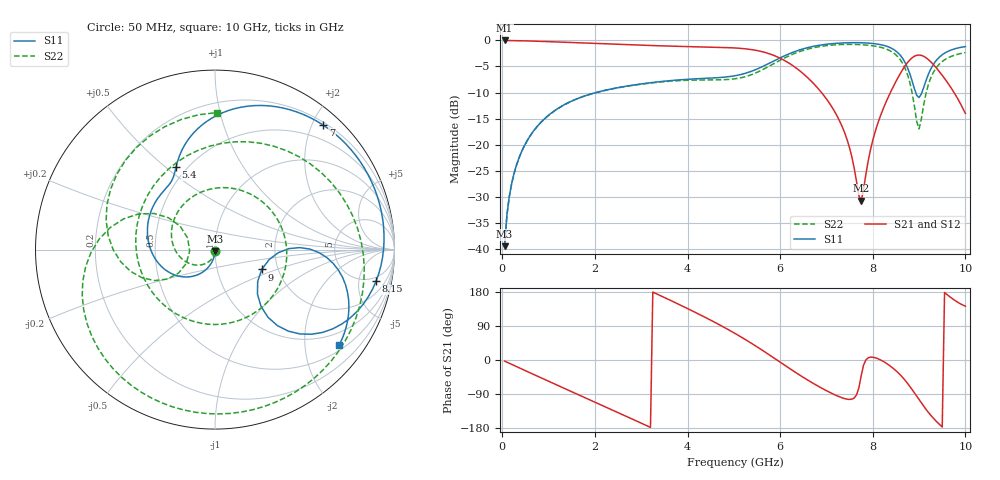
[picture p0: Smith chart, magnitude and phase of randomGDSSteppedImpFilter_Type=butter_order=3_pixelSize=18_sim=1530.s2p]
! freq	dB(S11)	phase(S11)	dB(S12)	phase(S12)
!  dB(S21)	phase(S21)	dB(S22)	phase(S22)
!S-par simulation data
#  GHz  S  DB  R 50
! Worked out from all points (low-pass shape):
!   200 points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, 50 MHz to 10 GHz, reference 50 ohm
!   highest |S21| = -0.01 dB at 50 MHz (marker M1); lowest = -30.8 dB at 7.75 GHz (marker M2)
!   |S21| within 3 dB of the highest: start of sweep to 5.9 GHz; 8.906 GHz to 9.087 GHz (181.4 MHz wide, 2.02 % of centre)
!   lowest |S11| = -39.5 dB at 50 MHz (marker M3), VSWR 1.02, Z = 50 - j1.06 ohm
!   |S11| at or under -10 dB: start of sweep to 2.025 GHz; 8.928 GHz to 9.061 GHz (133.2 MHz wide, 1.48 % of centre)
!   |S22| runs from -39.5 to -0.8 dB; largest |S21 - S12| = 0
!   S11 on the Smith chart (normalised r, x): 50 MHz: 1.00, -0.02; 5.4 GHz: 0.44, +0.54; 7 GHz: 0.24, +2.17; 8.15 GHz: 3.91, -8.45; 9 GHz: 1.65, -0.40; 10 GHz: 0.64, -2.83
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0.05  -39.50 -91.4  -0.01 -2.9  -0.01 -2.9  -39.50 -92.9
0.2  -27.58 -97.9  -0.03 -11.4  -0.03 -11.4  -27.60 -104.7
0.5  -19.83 -110.2  -0.08 -28.2  -0.08 -28.2  -19.86 -127.2
1.15  -13.36 -134.8  -0.28 -64.4  -0.28 -64.4  -13.38 -175.5
1.75  -10.75 -155.1  -0.50 -97.4  -0.50 -97.4  -10.77 138.8
2.6  -8.90 179.8  -0.79 -144.3  -0.79 -144.3  -8.93 70.5
3.4  -7.92 158.2  -1.03 170.7  -1.03 170.7  -8.00 2.6
4.35  -7.30 134.0  -1.25 114.5  -1.25 114.5  -7.59 -84.6
5.05  -6.74 120.8  -1.46 68.4  -1.46 68.4  -7.34 -164.5
5.4  -5.86 115.2  -1.79 42.6  -1.79 42.6  -6.51 148.0
6  -3.34 98.1  -3.41 -5.7  -3.41 -5.7  -3.79 66.4
6.7  -1.16 64.5  -8.08 -60.7  -8.08 -60.7  -1.44 -11.7
7  -0.73 49.0  -11.24 -81.0  -11.24 -81.0  -1.00 -39.3
7.45  -0.45 26.1  -19.18 -103.5  -19.18 -103.5  -0.76 -76.7
7.75  -0.45 10.7  -30.79 -41.7  -30.79 -41.7  -0.81 -100.8
8.15  -0.78 -11.2  -14.87 1.3  -14.87 1.3  -1.28 -135.3
8.35  -1.28 -23.6  -10.57 -13.4  -10.57 -13.4  -1.89 -155.4
8.75  -5.22 -50.6  -4.26 -61.5  -4.26 -61.5  -6.55 155.0
9  -10.96 -23.0  -2.80 -104.8  -2.80 -104.8  -16.99 -176.5
9.25  -5.53 0.3  -4.09 -145.5  -4.09 -145.5  -7.23 -158.8
9.55  -2.45 -15.2  -7.29 178.0  -7.29 178.0  -3.72 157.5
10  -1.19 -37.4  -14.01 141.8  -14.01 141.8  -2.34 89.2
